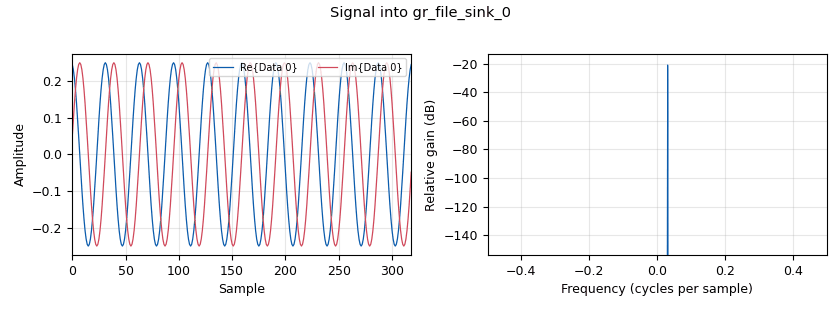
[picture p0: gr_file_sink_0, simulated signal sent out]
<?xml version='1.0' encoding='utf-8'?>
<flow_graph>
<block>
<key>options</key>
<param><key>id</key><value>arquivo_teste</value></param>
<param><key>generate_options</key><value>wx_gui</value></param>
<param><key>category</key><value>Custom</value></param>
</block>
<block>
<key>variable</key>
<param><key>id</key><value>samp_rate</value></param>
<param><key>value</key><value>32000</value></param>
</block>
<block>
<key>import</key>
<param><key>id</key><value>import_0</value></param>
<param><key>import</key><value>from datetime import datetime</value></param>
</block>
<block>
<key>variable</key>
<param><key>id</key><value>recFile</value></param>
<param><key>value</key><value>datetime.now().strftime("%Y.%m.%d.%H.%M.%S") + ".dat"</value></param>
</block>
<block>
<key>variable</key>
<param><key>id</key><value>recFile_1</value></param>
<param><key>value</key><value>"Joao." + datetime.now().strftime("%Y.%m.%d.%H.%M.%S") + ".dat"</value></param>
</block>
<block>
<key>gr_file_sink</key>
<param><key>id</key><value>gr_file_sink_0</value></param>
<param><key>file</key><value>recFile_1</value></param>
<param><key>type</key><value>complex</value></param>
<param><key>vlen</key><value>1</value></param>
<param><key>unbuffered</key><value>False</value></param>
</block>
<block>
<key>gr_sig_source_x</key>
<param><key>id</key><value>gr_sig_source_x_0</value></param>
<param><key>type</key><value>complex</value></param>
<param><key>samp_rate</key><value>samp_rate</value></param>
<param><key>waveform</key><value>gr.GR_COS_WAVE</value></param>
<param><key>freq</key><value>1000</value></param>
<param><key>amp</key><value>0.25</value></param>
<param><key>offset</key><value>0</value></param>
</block>
<connection><source_block_id>gr_sig_source_x_0</source_block_id><sink_block_id>gr_file_sink_0</sink_block_id><source_key>0</source_key><sink_key>0</sink_key></connection>
</flow_graph>
